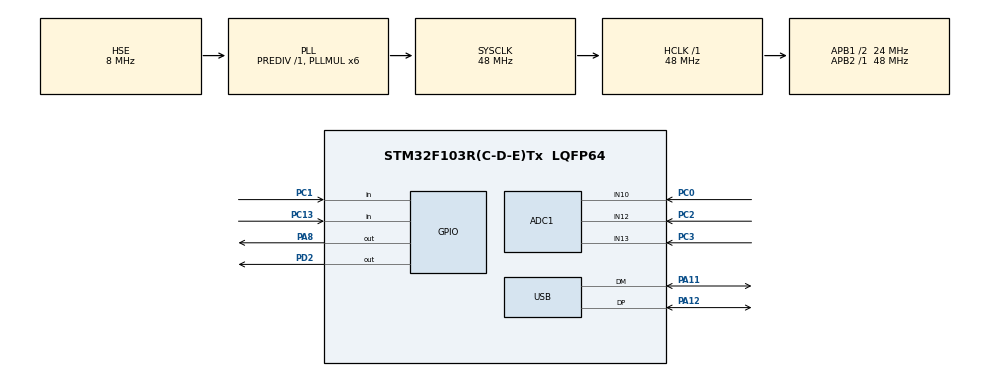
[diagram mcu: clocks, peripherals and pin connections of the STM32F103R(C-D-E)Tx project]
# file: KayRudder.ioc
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ADC1.Channel-0\#ChannelRegularConversion=ADC_CHANNEL_10
ADC1.Channel-1\#ChannelRegularConversion=ADC_CHANNEL_12
ADC1.Channel-2\#ChannelRegularConversion=ADC_CHANNEL_13
ADC1.ContinuousConvMode=ENABLE
ADC1.DataAlign=ADC_DATAALIGN_RIGHT
ADC1.NbrOfConversion=3
ADC1.NbrOfConversionFlag=1
ADC1.Rank-0\#ChannelRegularConversion=1
ADC1.Rank-1\#ChannelRegularConversion=2
ADC1.Rank-2\#ChannelRegularConversion=3
ADC1.SamplingTime-0\#ChannelRegularConversion=ADC_SAMPLETIME_28CYCLES_5
ADC1.SamplingTime-1\#ChannelRegularConversion=ADC_SAMPLETIME_28CYCLES_5
ADC1.SamplingTime-2\#ChannelRegularConversion=ADC_SAMPLETIME_28CYCLES_5
ADC1.master=1
Dma.ADC1.0.Direction=DMA_PERIPH_TO_MEMORY
Dma.ADC1.0.Instance=DMA1_Channel1
Dma.ADC1.0.MemDataAlignment=DMA_MDATAALIGN_WORD
Dma.ADC1.0.MemInc=DMA_MINC_ENABLE
Dma.ADC1.0.Mode=DMA_CIRCULAR
Dma.ADC1.0.PeriphDataAlignment=DMA_PDATAALIGN_WORD
Dma.ADC1.0.PeriphInc=DMA_PINC_DISABLE
Dma.ADC1.0.Priority=DMA_PRIORITY_LOW
Dma.Request0=ADC1
Mcu.Family=STM32F1
Mcu.Name=STM32F103R(C-D-E)Tx
Mcu.Package=LQFP64
NVIC.ADC1_2_IRQn=true\:0\:0\:false\:false\:true\:true\:true
NVIC.DMA1_Channel1_IRQn=true\:0\:0\:false\:false\:true\:false\:true
NVIC.PriorityGroup=NVIC_PRIORITYGROUP_4
NVIC.USB_LP_CAN1_RX0_IRQn=true\:0\:0\:false\:false\:true\:false\:true
PA11.Mode=Device
PA11.Signal=USB_DM
PA12.Mode=Device
PA12.Signal=USB_DP
PA13.Mode=Serial_Wire
PA13.Signal=SYS_JTMS-SWDIO
PA14.Mode=Serial_Wire
PA14.Signal=SYS_JTCK-SWCLK
PA8.GPIO_PuPd=GPIO_PULLUP
PA8.Signal=GPIO_Output
PC0.Signal=ADCx_IN10
PC1.GPIO_Mode=GPIO_MODE_INPUT
PC1.GPIO_PuPd=GPIO_PULLUP
PC1.Signal=GPIO_Input
PC13-TAMPER-RTC.GPIO_PuPd=GPIO_PULLUP
PC13-TAMPER-RTC.Signal=GPIO_Input
PC2.Signal=ADCx_IN12
PC3.Signal=ADCx_IN13
PD0-OSC_IN.Mode=HSE-External-Oscillator
PD0-OSC_IN.Signal=RCC_OSC_IN
PD1-OSC_OUT.Mode=HSE-External-Oscillator
PD1-OSC_OUT.Signal=RCC_OSC_OUT
PD2.GPIO_PuPd=GPIO_PULLUP
PD2.Signal=GPIO_Output
ProjectManager.HeapSize=0x1000
ProjectManager.StackSize=0x800
ProjectManager.TargetToolchain=STM32CubeIDE
RCC.ADCPresc=RCC_ADCPCLK2_DIV4
RCC.AHBFreq_Value=48000000
RCC.APB1CLKDivider=RCC_HCLK_DIV2
RCC.APB1Freq_Value=24000000
RCC.APB1TimFreq_Value=48000000
RCC.APB2Freq_Value=48000000
RCC.APB2TimFreq_Value=48000000
RCC.HCLKFreq_Value=48000000
RCC.PLLMUL=RCC_PLL_MUL6
RCC.SYSCLKFreq_VALUE=48000000
RCC.SYSCLKSource=RCC_SYSCLKSOURCE_PLLCLK
RCC.USBFreq_Value=48000000
SH.ADCx_IN10.0=ADC1_IN10,IN10
SH.ADCx_IN12.0=ADC1_IN12,IN12
SH.ADCx_IN13.0=ADC1_IN13,IN13
USB_DEVICE.CLASS_NAME_FS=CUSTOM_HID
USB_DEVICE.CUSTOM_HID_FS_BINTERVAL=0x1
USB_DEVICE.PRODUCT_STRING_CUSTOMHID_FS=STM32 Kay Rudder
USB_DEVICE.USBD_CUSTOMHID_OUTREPORT_BUF_SIZE=64
USB_DEVICE.USBD_CUSTOM_HID_REPORT_DESC_SIZE=26
USB_DEVICE.VirtualMode=CustomHid
USB_DEVICE.VirtualModeFS=Custom_Hid_FS
VP_USB_DEVICE_VS_USB_DEVICE_CUSTOM_HID_FS.Mode=CUSTOM_HID_FS
board=custom

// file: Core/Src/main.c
/* USER CODE BEGIN Header */
/**
  ******************************************************************************
  * @file           : main.c
  * @brief          : Main program body
  ******************************************************************************
  * @attention
  *
  * <h2><center>&copy; Copyright (c) 2021 STMicroelectronics.
  * All rights reserved.</center></h2>
  *
  * This software component is licensed by ST under BSD 3-Clause license,
  * the "License"; You may not use this file except in compliance with the
  * License. You may obtain a copy of the License at:
  *                        opensource.org/licenses/BSD-3-Clause
  *
  ******************************************************************************
  */
/* USER CODE END Header */

#include "main.h"
#include "usb_device.h"

/* USER CODE BEGIN Includes */
#include "LED.h"
#include "Key.h"
#include "adc.h"
#include "usbd_custom_hid_if.h"
/* USER CODE END Includes */

ADC_HandleTypeDef hadc1;
DMA_HandleTypeDef hdma_adc1;

void SystemClock_Config(void);
static void MX_GPIO_Init(void);
static void MX_DMA_Init(void);
static void MX_ADC1_Init(void);
static void enable_adc_dma(void);

/* USER CODE BEGIN 0 */

typedef struct USBD_Buffer{
	int8_t x;
	int8_t y;
	int8_t z;
} USBD_Buffer;
/* USER CODE END 0 */

int main(void)
{
  /* USER CODE BEGIN 1 */
  USBD_Buffer buf;
  int x,y,z;
  /* USER CODE END 1 */

  /* MCU Configuration--------------------------------------------------------*/

  /* Reset of all peripherals, Initializes the Flash interface and the Systick. */
  HAL_Init();

  /* Configure the system clock */
  SystemClock_Config();

  /* Initialize all configured peripherals */
  MX_GPIO_Init();
  MX_DMA_Init();
  MX_ADC1_Init();
  MX_USB_DEVICE_Init();
  /* USER CODE BEGIN 2 */
  LED0_ON();
  LED1_ON();
  buf.x = 0;
  buf.y = 0;
  buf.z = 0;
  enable_adc_dma();
  /* USER CODE END 2 */

  /* Infinite loop */
  while (1)
  {
    /* USER CODE BEGIN 3 */
	if(KEY0_get() == KEY0_DOWN){
		LED0_Reverse();
	}
	if(KEY1_get() == KEY1_DOWN){
		LED1_Reverse();
	}
	x = AD_Buf[0]; //0-1200 push-pull
	y = AD_Buf[1]; //0-1200	push-pull
	z = AD_Buf[2]; //0-4000

	buf.x = (int8_t)((double)x/1200.0*255.0-127);
	buf.y = (int8_t)((double)y/1200.0*255.0-127);
	buf.z = (int8_t)((double)z/4096.0*255.0-127);

	USBD_CUSTOM_HID_SendReport(&hUsbDeviceFS, &buf, sizeof(struct USBD_Buffer));
	HAL_Delay(5);
  }
  /* USER CODE END 3 */
}

void SystemClock_Config(void)
{
  RCC_OscInitTypeDef RCC_OscInitStruct = {0};
  RCC_ClkInitTypeDef RCC_ClkInitStruct = {0};
  RCC_PeriphCLKInitTypeDef PeriphClkInit = {0};

  /** Initializes the CPU, AHB and APB busses clocks
  */
  RCC_OscInitStruct.OscillatorType = RCC_OSCILLATORTYPE_HSE;
  RCC_OscInitStruct.HSEState = RCC_HSE_ON;
  RCC_OscInitStruct.HSEPredivValue = RCC_HSE_PREDIV_DIV1;
  RCC_OscInitStruct.HSIState = RCC_HSI_ON;
  RCC_OscInitStruct.PLL.PLLState = RCC_PLL_ON;
  RCC_OscInitStruct.PLL.PLLSource = RCC_PLLSOURCE_HSE;
  RCC_OscInitStruct.PLL.PLLMUL = RCC_PLL_MUL6;
  if (HAL_RCC_OscConfig(&RCC_OscInitStruct) != HAL_OK)
  {
    Error_Handler();
  }
  /** Initializes the CPU, AHB and APB busses clocks
  */
  RCC_ClkInitStruct.ClockType = RCC_CLOCKTYPE_HCLK|RCC_CLOCKTYPE_SYSCLK
                              |RCC_CLOCKTYPE_PCLK1|RCC_CLOCKTYPE_PCLK2;
  RCC_ClkInitStruct.SYSCLKSource = RCC_SYSCLKSOURCE_PLLCLK;
  RCC_ClkInitStruct.AHBCLKDivider = RCC_SYSCLK_DIV1;
  RCC_ClkInitStruct.APB1CLKDivider = RCC_HCLK_DIV2;
  RCC_ClkInitStruct.APB2CLKDivider = RCC_HCLK_DIV1;

  if (HAL_RCC_ClockConfig(&RCC_ClkInitStruct, FLASH_LATENCY_1) != HAL_OK)
  {
    Error_Handler();
  }
  PeriphClkInit.PeriphClockSelection = RCC_PERIPHCLK_ADC|RCC_PERIPHCLK_USB;
  PeriphClkInit.AdcClockSelection = RCC_ADCPCLK2_DIV4;
  PeriphClkInit.UsbClockSelection = RCC_USBCLKSOURCE_PLL;
  if (HAL_RCCEx_PeriphCLKConfig(&PeriphClkInit) != HAL_OK)
  {
    Error_Handler();
  }
}

static void MX_ADC1_Init(void)
{

  ADC_ChannelConfTypeDef sConfig = {0};

  /** Common config
  */
  hadc1.Instance = ADC1;
  hadc1.Init.ScanConvMode = ADC_SCAN_ENABLE;
  hadc1.Init.ContinuousConvMode = ENABLE;
  hadc1.Init.DiscontinuousConvMode = DISABLE;
  hadc1.Init.ExternalTrigConv = ADC_SOFTWARE_START;
  hadc1.Init.DataAlign = ADC_DATAALIGN_RIGHT;
  hadc1.Init.NbrOfConversion = 3;
  if (HAL_ADC_Init(&hadc1) != HAL_OK)
  {
    Error_Handler();
  }
  /** Configure Regular Channel
  */
  sConfig.Channel = ADC_CHANNEL_10;
  sConfig.Rank = ADC_REGULAR_RANK_1;
  sConfig.SamplingTime = ADC_SAMPLETIME_28CYCLES_5;
  if (HAL_ADC_ConfigChannel(&hadc1, &sConfig) != HAL_OK)
  {
    Error_Handler();
  }
  /** Configure Regular Channel
  */
  sConfig.Channel = ADC_CHANNEL_12;
  sConfig.Rank = ADC_REGULAR_RANK_2;
  if (HAL_ADC_ConfigChannel(&hadc1, &sConfig) != HAL_OK)
  {
    Error_Handler();
  }
  /** Configure Regular Channel
  */
  sConfig.Channel = ADC_CHANNEL_13;
  sConfig.Rank = ADC_REGULAR_RANK_3;
  if (HAL_ADC_ConfigChannel(&hadc1, &sConfig) != HAL_OK)
  {
    Error_Handler();
  }

}

static void MX_DMA_Init(void)
{

  /* DMA controller clock enable */
  __HAL_RCC_DMA1_CLK_ENABLE();

  /* DMA interrupt init */
  /* DMA1_Channel1_IRQn interrupt configuration */
  HAL_NVIC_SetPriority(DMA1_Channel1_IRQn, 0, 0);
  HAL_NVIC_EnableIRQ(DMA1_Channel1_IRQn);

}

static void MX_GPIO_Init(void)
{
  GPIO_InitTypeDef GPIO_InitStruct = {0};

  /* GPIO Ports Clock Enable */
  __HAL_RCC_GPIOC_CLK_ENABLE();
  __HAL_RCC_GPIOD_CLK_ENABLE();
  __HAL_RCC_GPIOA_CLK_ENABLE();

  /*Configure GPIO pin Output Level */
  HAL_GPIO_WritePin(GPIOA, GPIO_PIN_8, GPIO_PIN_RESET);

  /*Configure GPIO pin Output Level */
  HAL_GPIO_WritePin(GPIOD, GPIO_PIN_2, GPIO_PIN_RESET);

  /*Configure GPIO pins : PC13 PC1 */
  GPIO_InitStruct.Pin = GPIO_PIN_13|GPIO_PIN_1;
  GPIO_InitStruct.Mode = GPIO_MODE_INPUT;
  GPIO_InitStruct.Pull = GPIO_PULLUP;
  HAL_GPIO_Init(GPIOC, &GPIO_InitStruct);

  /*Configure GPIO pin : PA8 */
  GPIO_InitStruct.Pin = GPIO_PIN_8;
  GPIO_InitStruct.Mode = GPIO_MODE_OUTPUT_PP;
  GPIO_InitStruct.Pull = GPIO_PULLUP;
  GPIO_InitStruct.Speed = GPIO_SPEED_FREQ_LOW;
  HAL_GPIO_Init(GPIOA, &GPIO_InitStruct);

  /*Configure GPIO pin : PD2 */
  GPIO_InitStruct.Pin = GPIO_PIN_2;
  GPIO_InitStruct.Mode = GPIO_MODE_OUTPUT_PP;
  GPIO_InitStruct.Pull = GPIO_PULLUP;
  GPIO_InitStruct.Speed = GPIO_SPEED_FREQ_LOW;
  HAL_GPIO_Init(GPIOD, &GPIO_InitStruct);

}

/* USER CODE BEGIN 4 */
static void enable_adc_dma(void)
{
	HAL_ADC_Start_DMA(&hadc1,AD_Buf,ADC_CHANNEL_CNT);
}
/* USER CODE END 4 */

void Error_Handler(void)
{
}

/************************ (C) COPYRIGHT STMicroelectronics *****END OF FILE****/
